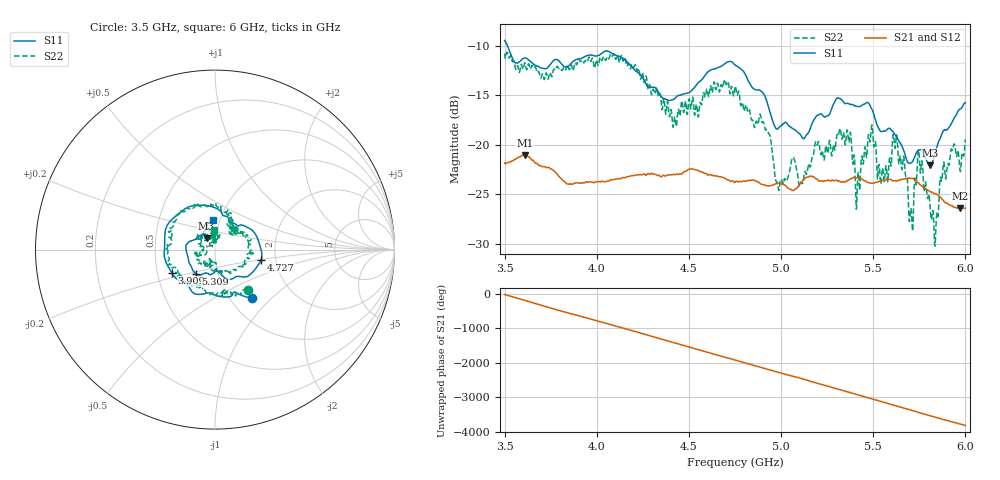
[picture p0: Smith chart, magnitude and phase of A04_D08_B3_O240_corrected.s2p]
! Created with skrf 1.9.0 (http://scikit-rf.org).
# Hz S RI R 50.0
!freq ReS11 ImS11 ReS21 ImS21 ReS12 ImS12 ReS22 ImS22
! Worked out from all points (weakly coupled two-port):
!   1601 points, 3.5 GHz to 6 GHz, reference 50 ohm
!   highest |S21| = -21.02 dB at 3.609 GHz (marker M1); lowest = -26.4 dB at 5.97 GHz (marker M2)
!   lowest |S11| = -22.1 dB at 5.808 GHz (marker M3), VSWR 1.17, Z = 45.2 + j5.79 ohm
!   |S11| at or under -10 dB: 3.516 GHz to end of sweep
!   |S22| runs from -30.3 to -10.6 dB; largest |S21 - S12| = 0.0012
!   S11 on the Smith chart (normalised r, x): 3.5 GHz: 1.26, -0.76; 3.909 GHz: 0.60, -0.17; 4.727 GHz: 1.68, -0.20; 5.309 GHz: 0.78, -0.22; 6 GHz: 0.93, +0.31
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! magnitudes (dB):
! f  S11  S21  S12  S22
! 3.5 GHz  -9.4  -21.8  -21.8  -10.8
! 3.609 GHz  -11.2  -21.0  -21.0  -11.7
! 3.909 GHz  -11.3  -23.9  -23.9  -11.5
! 3.917 GHz  -11.2  -23.9  -23.9  -11.5
! 4.334 GHz  -14.7  -23.1  -23.1  -15.1
! 4.422 GHz  -15.3  -23.0  -23.0  -17.2
! 4.727 GHz  -11.6  -23.7  -23.6  -14.5
! 4.75 GHz  -11.9  -23.8  -23.7  -14.2
! 4.931 GHz  -16.1  -24.2  -24.1  -18.8
! 4.981 GHz  -18.4  -23.9  -23.9  -24.0
! 5.167 GHz  -17.9  -23.2  -23.2  -21.4
! 5.309 GHz  -15.2  -23.6  -23.6  -19.1
! 5.416 GHz  -16.1  -23.4  -23.4  -23.4
! 5.484 GHz  -16.1  -23.9  -23.9  -19.5
! 5.584 GHz  -18.3  -23.5  -23.5  -22.2
! 5.62 GHz  -19.0  -23.6  -23.7  -20.2
! 5.705 GHz  -21.8  -23.4  -23.4  -26.4
! 5.753 GHz  -20.5  -24.0  -24.0  -22.3
! 5.808 GHz  -22.1  -24.7  -24.7  -26.0
! 5.841 GHz  -20.6  -24.9  -24.9  -28.1
! 5.97 GHz  -16.4  -26.4  -26.4  -22.6
! 6 GHz  -15.7  -26.4  -26.4  -19.4
